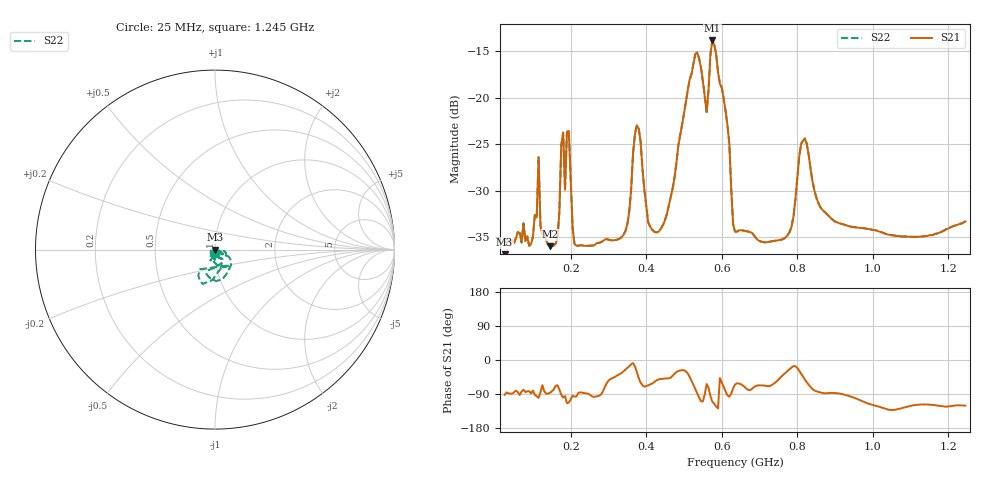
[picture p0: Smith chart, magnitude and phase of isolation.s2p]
!Created with skrf (http://scikit-rf.org).
# Hz S RI R 50.0
!freq ReS11 ImS11 ReS21 ImS21 ReS12 ImS12 ReS22 ImS22
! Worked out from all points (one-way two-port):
!   245 points, 25 MHz to 1.245 GHz, reference 50 ohm
!   highest |S21| = -13.84 dB at 575 MHz (marker M1); lowest = -36.0 dB at 145 MHz (marker M2)
!   lowest |S11| = - dB at 25 MHz (marker M3), VSWR 1.00, Z = 50 + j0 ohm
!   |S11| at or under -10 dB: start of sweep to end of sweep
!   |S22| runs from -36.0 to -13.8 dB; largest |S21 - S12| = 0.2
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2.5e7  0 0  -0.000519 -0.0168  0 0  -0.000519 -0.0168
9.5e7  0 0  0.000485 -0.0163  0 0  0.000485 -0.0163
1.15e8  0 0  -0.00818 -0.0473  0 0  -0.00818 -0.0473
1.2e8  0 0  0.00179 -0.0203  0 0  0.00179 -0.0203
1.45e8  0 0  0.000928 -0.0159  0 0  0.000928 -0.0159
1.95e8  0 0  -0.025 -0.0613  0 0  -0.025 -0.0613
2.1e8  0 0  -0.00193 -0.0162  0 0  -0.00193 -0.0162
2.3e8  0 0  0.00107 -0.016  0 0  0.00107 -0.016
3.45e8  0 0  0.0174 -0.00815  0 0  0.0174 -0.00815
3.75e8  0 0  0.0606 -0.037  0 0  0.0606 -0.037
4.05e8  0 0  0.00838 -0.0197  0 0  0.00838 -0.0197
4.35e8  0 0  0.0122 -0.0149  0 0  0.0122 -0.0149
5.3e8  0 0  0.04 -0.1671  0 0  0.04 -0.1671
5.6e8  0 0  0.0375 -0.0748  0 0  0.0375 -0.0748
5.75e8  0 0  -0.0692 -0.1911  0 0  -0.0692 -0.1911
6.15e8  0 0  -0.00402 -0.071  0 0  -0.00402 -0.071
6.35e8  0 0  0.00809 -0.0172  0 0  0.00809 -0.0172
7.75e8  0 0  0.0162 -0.00856  0 0  0.0162 -0.00856
8.2e8  0 0  0.0375 -0.0473  0 0  0.0375 -0.0473
8.4e8  0 0  0.00829 -0.0346  0 0  0.00829 -0.0346
1.045e9  0 0  -0.0121 -0.0137  0 0  -0.0121 -0.0137
1.245e9  0 0  -0.0109 -0.0186  0 0  -0.0109 -0.0186
